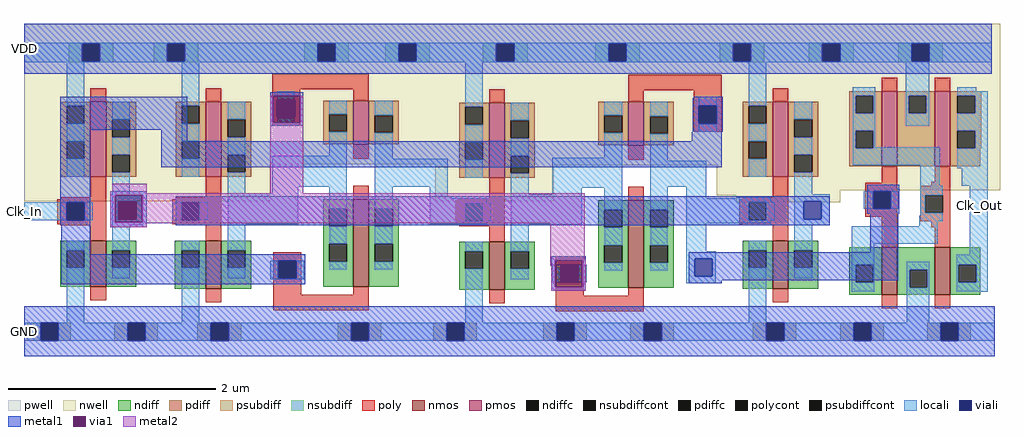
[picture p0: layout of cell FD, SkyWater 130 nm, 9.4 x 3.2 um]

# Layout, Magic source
magic
tech sky130A
magscale 1 2
<< nwell >>
rect 0 370 1880 640
rect 0 298 474 370
rect 792 368 1880 370
rect 792 298 1020 368
rect 1334 320 1880 368
rect 1334 310 1572 320
rect 1372 296 1572 310
<< pwell >>
rect 6 30 90 64
rect 174 30 258 64
rect 334 30 418 64
rect 604 30 688 64
rect 788 30 872 64
rect 1000 30 1084 64
rect 1168 30 1252 64
rect 1404 30 1488 64
rect 1572 30 1656 64
rect 1740 30 1824 64
<< nmos >>
rect 128 134 158 222
rect 350 130 380 222
rect 634 134 664 302
rect 896 128 926 220
rect 1164 132 1194 300
rect 1442 130 1472 222
rect 1652 118 1682 210
rect 1754 118 1784 210
<< pmos >>
rect 128 346 158 490
rect 350 346 380 490
rect 634 408 664 492
rect 896 344 926 488
rect 1164 406 1194 490
rect 1442 346 1472 490
rect 1652 366 1682 510
rect 1754 366 1784 510
<< ndiff >>
rect 576 284 634 302
rect 576 250 588 284
rect 622 250 634 284
rect 70 204 128 222
rect 70 170 82 204
rect 116 170 128 204
rect 70 134 128 170
rect 158 204 216 222
rect 158 170 170 204
rect 204 170 216 204
rect 158 134 216 170
rect 290 204 350 222
rect 290 170 304 204
rect 338 170 350 204
rect 290 130 350 170
rect 380 204 438 222
rect 380 170 392 204
rect 426 170 438 204
rect 576 216 634 250
rect 380 130 438 170
rect 576 182 588 216
rect 622 182 634 216
rect 576 134 634 182
rect 664 284 722 302
rect 664 250 676 284
rect 710 250 722 284
rect 664 216 722 250
rect 1106 282 1164 300
rect 1106 248 1118 282
rect 1152 248 1164 282
rect 664 182 676 216
rect 710 182 722 216
rect 664 134 722 182
rect 838 202 896 220
rect 838 168 850 202
rect 884 168 896 202
rect 838 128 896 168
rect 926 202 984 220
rect 926 168 938 202
rect 972 168 984 202
rect 1106 214 1164 248
rect 926 128 984 168
rect 1106 180 1118 214
rect 1152 180 1164 214
rect 1106 132 1164 180
rect 1194 282 1252 300
rect 1194 248 1206 282
rect 1240 248 1252 282
rect 1194 214 1252 248
rect 1194 180 1206 214
rect 1240 180 1252 214
rect 1194 132 1252 180
rect 1384 204 1442 222
rect 1384 170 1396 204
rect 1430 170 1442 204
rect 1384 130 1442 170
rect 1472 204 1530 222
rect 1472 170 1484 204
rect 1518 170 1530 204
rect 1472 130 1530 170
rect 1590 176 1652 210
rect 1590 142 1602 176
rect 1636 142 1652 176
rect 1590 118 1652 142
rect 1682 166 1754 210
rect 1682 132 1706 166
rect 1740 132 1754 166
rect 1682 118 1754 132
rect 1784 176 1842 210
rect 1784 142 1800 176
rect 1834 142 1842 176
rect 1784 118 1842 142
<< pdiff >>
rect 70 482 128 490
rect 70 448 82 482
rect 116 448 128 482
rect 70 414 128 448
rect 70 380 82 414
rect 116 380 128 414
rect 70 346 128 380
rect 158 456 216 490
rect 158 422 170 456
rect 204 422 216 456
rect 158 388 216 422
rect 158 354 170 388
rect 204 354 216 388
rect 158 346 216 354
rect 292 482 350 490
rect 292 448 304 482
rect 338 448 350 482
rect 292 414 350 448
rect 292 380 304 414
rect 338 380 350 414
rect 292 346 350 380
rect 380 456 438 490
rect 380 422 392 456
rect 426 422 438 456
rect 576 466 634 492
rect 380 388 438 422
rect 576 432 588 466
rect 622 432 634 466
rect 576 408 634 432
rect 664 464 722 492
rect 664 430 676 464
rect 710 430 722 464
rect 664 408 722 430
rect 838 480 896 488
rect 838 446 850 480
rect 884 446 896 480
rect 838 412 896 446
rect 380 354 392 388
rect 426 354 438 388
rect 380 346 438 354
rect 838 378 850 412
rect 884 378 896 412
rect 838 344 896 378
rect 926 454 984 488
rect 926 420 938 454
rect 972 420 984 454
rect 926 386 984 420
rect 1106 464 1164 490
rect 1106 430 1118 464
rect 1152 430 1164 464
rect 1106 406 1164 430
rect 1194 462 1252 490
rect 1194 428 1206 462
rect 1240 428 1252 462
rect 1590 502 1652 510
rect 1384 482 1442 490
rect 1384 448 1396 482
rect 1430 448 1442 482
rect 1194 406 1252 428
rect 1384 414 1442 448
rect 926 352 938 386
rect 972 352 984 386
rect 1384 380 1396 414
rect 1430 380 1442 414
rect 926 344 984 352
rect 1384 346 1442 380
rect 1472 456 1530 490
rect 1472 422 1484 456
rect 1518 422 1530 456
rect 1472 388 1530 422
rect 1472 354 1484 388
rect 1518 354 1530 388
rect 1590 468 1602 502
rect 1636 468 1652 502
rect 1590 434 1652 468
rect 1590 400 1602 434
rect 1636 400 1652 434
rect 1590 366 1652 400
rect 1682 502 1754 510
rect 1682 468 1704 502
rect 1738 468 1754 502
rect 1682 366 1754 468
rect 1784 502 1844 510
rect 1784 468 1798 502
rect 1832 468 1844 502
rect 1784 434 1844 468
rect 1784 400 1798 434
rect 1832 400 1844 434
rect 1784 366 1842 400
rect 1472 346 1530 354
<< ndiffc >>
rect 588 250 622 284
rect 82 170 116 204
rect 170 170 204 204
rect 304 170 338 204
rect 392 170 426 204
rect 588 182 622 216
rect 676 250 710 284
rect 1118 248 1152 282
rect 676 182 710 216
rect 850 168 884 202
rect 938 168 972 202
rect 1118 180 1152 214
rect 1206 248 1240 282
rect 1206 180 1240 214
rect 1396 170 1430 204
rect 1484 170 1518 204
rect 1602 142 1636 176
rect 1706 132 1740 166
rect 1800 142 1834 176
<< pdiffc >>
rect 82 448 116 482
rect 82 380 116 414
rect 170 422 204 456
rect 170 354 204 388
rect 304 448 338 482
rect 304 380 338 414
rect 392 422 426 456
rect 588 432 622 466
rect 676 430 710 464
rect 850 446 884 480
rect 392 354 426 388
rect 850 378 884 412
rect 938 420 972 454
rect 1118 430 1152 464
rect 1206 428 1240 462
rect 1396 448 1430 482
rect 938 352 972 386
rect 1396 380 1430 414
rect 1484 422 1518 456
rect 1484 354 1518 388
rect 1602 468 1636 502
rect 1602 400 1636 434
rect 1704 468 1738 502
rect 1798 468 1832 502
rect 1798 400 1832 434
<< psubdiff >>
rect 6 30 32 64
rect 66 30 90 64
rect 174 30 200 64
rect 234 30 258 64
rect 334 30 360 64
rect 394 30 418 64
rect 604 30 630 64
rect 664 30 688 64
rect 788 30 814 64
rect 848 30 872 64
rect 1000 30 1026 64
rect 1060 30 1084 64
rect 1168 30 1194 64
rect 1228 30 1252 64
rect 1404 30 1430 64
rect 1464 30 1488 64
rect 1572 30 1598 64
rect 1632 30 1656 64
rect 1740 30 1766 64
rect 1800 30 1824 64
<< nsubdiff >>
rect 86 602 172 604
rect 86 568 112 602
rect 146 568 172 602
rect 86 566 172 568
rect 250 602 336 604
rect 250 568 276 602
rect 310 568 336 602
rect 250 566 336 568
rect 540 602 626 604
rect 540 568 566 602
rect 600 568 626 602
rect 540 566 626 568
rect 696 602 782 604
rect 696 568 722 602
rect 756 568 782 602
rect 696 566 782 568
rect 884 602 970 604
rect 884 568 910 602
rect 944 568 970 602
rect 884 566 970 568
rect 1100 602 1186 604
rect 1100 568 1126 602
rect 1160 568 1186 602
rect 1100 566 1186 568
rect 1340 602 1426 604
rect 1340 568 1366 602
rect 1400 568 1426 602
rect 1340 566 1426 568
rect 1512 602 1598 604
rect 1512 568 1538 602
rect 1572 568 1598 602
rect 1512 566 1598 568
rect 1684 602 1770 604
rect 1684 568 1710 602
rect 1744 568 1770 602
rect 1684 566 1770 568
<< psubdiffcont >>
rect 32 30 66 64
rect 200 30 234 64
rect 360 30 394 64
rect 630 30 664 64
rect 814 30 848 64
rect 1026 30 1060 64
rect 1194 30 1228 64
rect 1430 30 1464 64
rect 1598 30 1632 64
rect 1766 30 1800 64
<< nsubdiffcont >>
rect 112 568 146 602
rect 276 568 310 602
rect 566 568 600 602
rect 722 568 756 602
rect 910 568 944 602
rect 1126 568 1160 602
rect 1366 568 1400 602
rect 1538 568 1572 602
rect 1710 568 1744 602
<< poly >>
rect 128 490 158 516
rect 350 490 380 516
rect 478 514 664 544
rect 478 494 532 514
rect 478 460 488 494
rect 522 460 532 494
rect 634 492 664 514
rect 478 444 532 460
rect 896 488 926 514
rect 1164 512 1344 542
rect 1164 490 1194 512
rect 634 380 664 408
rect 128 306 158 346
rect 350 306 380 346
rect 1290 482 1344 512
rect 1442 490 1472 516
rect 1652 510 1682 536
rect 1754 510 1784 536
rect 1290 448 1300 482
rect 1334 448 1344 482
rect 1290 432 1344 448
rect 1164 378 1194 406
rect 70 302 158 306
rect 292 302 380 306
rect 634 302 664 328
rect 896 304 926 344
rect 64 296 158 302
rect 64 262 82 296
rect 116 262 158 296
rect 64 254 158 262
rect 286 296 380 302
rect 286 262 304 296
rect 338 262 380 296
rect 286 254 380 262
rect 70 252 158 254
rect 292 252 380 254
rect 128 222 158 252
rect 350 222 380 252
rect 128 108 158 134
rect 480 184 534 200
rect 480 150 490 184
rect 524 150 534 184
rect 350 104 380 130
rect 480 118 534 150
rect 838 300 926 304
rect 1164 300 1194 326
rect 1442 306 1472 346
rect 1652 334 1682 366
rect 1754 336 1784 366
rect 1384 302 1472 306
rect 832 294 926 300
rect 832 260 850 294
rect 884 260 926 294
rect 832 252 926 260
rect 838 250 926 252
rect 896 220 926 250
rect 634 118 664 134
rect 1024 176 1078 192
rect 1024 142 1034 176
rect 1068 142 1078 176
rect 480 88 664 118
rect 896 102 926 128
rect 1024 116 1078 142
rect 1378 296 1472 302
rect 1378 262 1396 296
rect 1430 262 1472 296
rect 1620 318 1682 334
rect 1748 328 1784 336
rect 1620 284 1636 318
rect 1670 284 1684 318
rect 1726 310 1784 328
rect 1620 268 1682 284
rect 1378 254 1472 262
rect 1384 252 1472 254
rect 1442 222 1472 252
rect 1164 116 1194 132
rect 1652 210 1682 268
rect 1726 276 1736 310
rect 1770 276 1784 310
rect 1726 260 1784 276
rect 1748 248 1784 260
rect 1754 210 1784 248
rect 1024 86 1194 116
rect 1442 104 1472 130
rect 1652 92 1682 118
rect 1754 92 1784 118
<< polycont >>
rect 488 460 522 494
rect 1300 448 1334 482
rect 82 262 116 296
rect 304 262 338 296
rect 490 150 524 184
rect 850 260 884 294
rect 1034 142 1068 176
rect 1396 262 1430 296
rect 1636 284 1670 318
rect 1736 276 1770 310
<< locali >>
rect 0 602 1864 604
rect 0 568 112 602
rect 146 568 276 602
rect 310 568 566 602
rect 600 568 722 602
rect 756 568 910 602
rect 944 568 1126 602
rect 1160 568 1366 602
rect 1400 568 1538 602
rect 1572 568 1710 602
rect 1744 568 1864 602
rect 0 566 1864 568
rect 82 482 116 566
rect 82 414 116 448
rect 82 346 116 380
rect 170 456 204 490
rect 170 388 204 422
rect 170 312 204 354
rect 304 482 338 566
rect 488 494 522 510
rect 304 414 338 448
rect 304 346 338 380
rect 392 456 426 490
rect 488 444 522 459
rect 588 466 622 492
rect 392 388 426 422
rect 588 386 622 432
rect 392 314 426 354
rect 478 326 622 386
rect 478 314 528 326
rect 170 298 230 312
rect 0 262 82 296
rect 116 262 132 296
rect 170 264 182 298
rect 216 264 230 298
rect 170 252 230 264
rect 286 262 304 296
rect 338 262 354 296
rect 392 254 528 314
rect 588 284 622 326
rect 82 204 116 222
rect 82 64 116 170
rect 170 204 204 252
rect 170 150 204 170
rect 304 204 338 222
rect 304 64 338 170
rect 392 204 426 254
rect 588 216 622 250
rect 392 150 426 170
rect 474 150 490 184
rect 524 150 540 184
rect 588 166 622 182
rect 676 464 710 492
rect 676 380 710 430
rect 850 480 884 566
rect 850 412 884 446
rect 676 326 816 380
rect 850 344 884 378
rect 938 454 972 488
rect 938 386 972 420
rect 1118 464 1152 490
rect 1118 382 1152 430
rect 676 284 710 326
rect 782 308 816 326
rect 938 312 972 352
rect 1018 324 1152 382
rect 1018 312 1074 324
rect 782 304 824 308
rect 782 294 892 304
rect 782 260 850 294
rect 884 260 900 294
rect 782 254 892 260
rect 938 254 1074 312
rect 1118 282 1152 324
rect 676 216 710 250
rect 676 166 710 182
rect 850 202 884 220
rect 474 148 540 150
rect 850 64 884 168
rect 938 202 972 254
rect 1118 214 1152 248
rect 938 148 972 168
rect 1018 142 1034 176
rect 1068 142 1084 176
rect 1118 164 1152 180
rect 1206 462 1240 490
rect 1300 482 1334 500
rect 1300 432 1334 448
rect 1396 482 1430 566
rect 1596 502 1640 518
rect 1206 376 1240 428
rect 1396 414 1430 448
rect 1206 326 1314 376
rect 1396 346 1430 380
rect 1484 456 1518 490
rect 1484 388 1518 422
rect 1596 468 1602 502
rect 1636 468 1640 502
rect 1596 434 1640 468
rect 1698 502 1744 566
rect 1698 468 1704 502
rect 1738 468 1744 502
rect 1698 444 1744 468
rect 1798 510 1834 518
rect 1798 502 1856 510
rect 1832 468 1856 502
rect 1596 400 1602 434
rect 1636 402 1640 434
rect 1798 434 1856 468
rect 1636 400 1764 402
rect 1596 368 1764 400
rect 1206 282 1240 326
rect 1206 214 1240 248
rect 1206 164 1240 180
rect 1276 304 1314 326
rect 1484 312 1518 354
rect 1726 328 1764 368
rect 1832 400 1856 434
rect 1798 362 1856 400
rect 1806 328 1856 362
rect 1372 304 1438 306
rect 1276 296 1438 304
rect 1484 298 1552 312
rect 1276 262 1396 296
rect 1430 262 1446 296
rect 1484 264 1502 298
rect 1536 264 1552 298
rect 1618 284 1636 318
rect 1670 284 1686 318
rect 1726 310 1770 328
rect 1726 276 1736 310
rect 1726 270 1770 276
rect 1276 256 1438 262
rect 1276 202 1314 256
rect 1484 252 1552 264
rect 1724 260 1770 270
rect 1396 204 1430 222
rect 1276 188 1332 202
rect 1276 154 1292 188
rect 1326 154 1332 188
rect 1276 140 1332 154
rect 1396 64 1430 170
rect 1484 204 1518 252
rect 1724 250 1760 260
rect 1484 150 1518 170
rect 1594 216 1760 250
rect 1594 176 1638 216
rect 1822 196 1856 328
rect 1594 142 1602 176
rect 1636 142 1638 176
rect 1594 124 1638 142
rect 1700 166 1744 182
rect 1700 132 1706 166
rect 1740 132 1744 166
rect 1700 64 1744 132
rect 1796 176 1856 196
rect 1796 142 1800 176
rect 1834 142 1856 176
rect 1796 124 1856 142
rect 0 30 32 64
rect 66 30 200 64
rect 234 30 360 64
rect 394 30 630 64
rect 664 30 814 64
rect 848 30 1026 64
rect 1060 30 1194 64
rect 1228 30 1430 64
rect 1464 30 1598 64
rect 1632 30 1766 64
rect 1800 30 1870 64
<< viali >>
rect 112 568 146 602
rect 276 568 310 602
rect 566 568 600 602
rect 722 568 756 602
rect 910 568 944 602
rect 1126 568 1160 602
rect 1366 568 1400 602
rect 1538 568 1572 602
rect 1710 568 1744 602
rect 488 460 522 493
rect 488 459 522 460
rect 82 262 116 296
rect 182 264 216 298
rect 304 262 338 296
rect 490 150 524 184
rect 1034 142 1068 176
rect 1300 448 1334 482
rect 1502 264 1536 298
rect 1636 284 1670 318
rect 1292 154 1326 188
rect 32 30 66 64
rect 200 30 234 64
rect 360 30 394 64
rect 630 30 664 64
rect 814 30 848 64
rect 1026 30 1060 64
rect 1194 30 1228 64
rect 1430 30 1464 64
rect 1598 30 1632 64
rect 1766 30 1800 64
<< metal1 >>
rect 0 602 1864 640
rect 0 568 112 602
rect 146 568 276 602
rect 310 568 566 602
rect 600 568 722 602
rect 756 568 910 602
rect 944 568 1126 602
rect 1160 568 1366 602
rect 1400 568 1538 602
rect 1572 568 1710 602
rect 1744 568 1864 602
rect 0 544 1864 568
rect 474 502 538 508
rect 70 436 314 500
rect 474 450 480 502
rect 532 450 538 502
rect 1290 498 1346 500
rect 474 444 538 450
rect 1288 482 1346 498
rect 1288 448 1300 482
rect 1334 448 1346 482
rect 70 296 128 436
rect 264 414 314 436
rect 1288 432 1346 448
rect 1286 414 1344 432
rect 264 364 1344 414
rect 1624 318 1686 330
rect 70 262 82 296
rect 116 262 128 296
rect 70 254 128 262
rect 72 196 128 254
rect 166 310 236 318
rect 166 258 176 310
rect 228 258 236 310
rect 166 248 236 258
rect 292 298 1552 308
rect 292 296 1502 298
rect 292 262 304 296
rect 338 264 1502 296
rect 1536 264 1552 298
rect 1624 284 1636 318
rect 1670 284 1686 318
rect 1624 274 1686 284
rect 338 262 1552 264
rect 292 252 1552 262
rect 1630 200 1684 274
rect 72 184 542 196
rect 72 150 490 184
rect 524 150 542 184
rect 72 138 542 150
rect 1016 185 1082 192
rect 1016 133 1023 185
rect 1075 133 1082 185
rect 1280 188 1684 200
rect 1280 154 1292 188
rect 1326 154 1684 188
rect 1280 146 1684 154
rect 1280 142 1344 146
rect 1282 140 1344 142
rect 1016 126 1082 133
rect 0 64 1870 96
rect 0 30 32 64
rect 66 30 200 64
rect 234 30 360 64
rect 394 30 630 64
rect 664 30 814 64
rect 848 30 1026 64
rect 1060 30 1194 64
rect 1228 30 1430 64
rect 1464 30 1598 64
rect 1632 30 1766 64
rect 1800 30 1870 64
rect 0 0 1870 30
<< via1 >>
rect 480 493 532 502
rect 480 459 488 493
rect 488 459 522 493
rect 522 459 532 493
rect 480 450 532 459
rect 176 298 228 310
rect 176 264 182 298
rect 182 264 216 298
rect 216 264 228 298
rect 176 258 228 264
rect 1023 176 1075 185
rect 1023 142 1034 176
rect 1034 142 1068 176
rect 1068 142 1075 176
rect 1023 133 1075 142
<< metal2 >>
rect 474 450 480 502
rect 532 450 538 502
rect 170 318 236 332
rect 166 314 236 318
rect 474 314 538 450
rect 166 310 1080 314
rect 166 258 176 310
rect 228 258 1080 310
rect 166 256 1080 258
rect 166 248 236 256
rect 1014 186 1080 256
rect 1014 185 1082 186
rect 1014 174 1023 185
rect 1016 133 1023 174
rect 1075 133 1082 185
rect 1016 126 1082 133
<< labels >>
rlabel locali s 1826 276 1854 304 4 Clk_Out
port 1 nsew
rlabel metal1 s 0 48 0 48 4 GND
port 2 nsew
rlabel locali s 0 278 0 278 4 Clk_In
port 3 nsew
rlabel metal1 s 0 592 0 592 4 VDD
port 4 nsew
<< end >>
